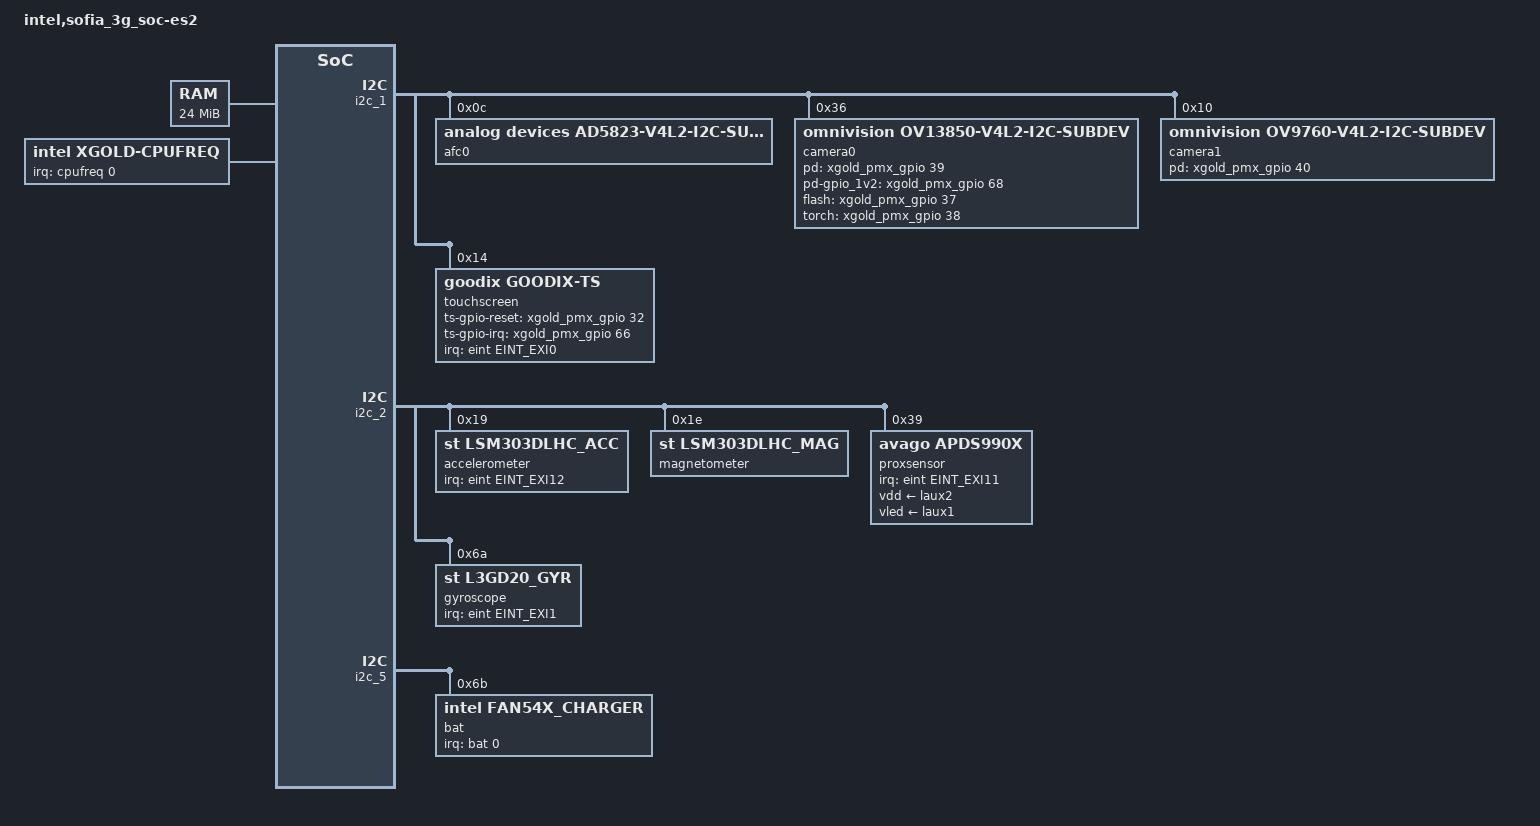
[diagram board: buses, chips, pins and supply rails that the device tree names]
/dts-v1/;
#define SOFIA3G_ES2
#include "xgold/sofia_3g_soc/irq.h"

/ {
	#address-cells = <1>;
	#size-cells = <1>;
	model = "intel,sofia_3g_soc-es2";
	compatible = "intel,sofia_3g_soc-svb", "intel,xgold";

	#include "xgold/sofia_3g_soc/sofia_3g_soc.dtsi"
	#include "xgold/sofia_3g_soc/irq.dtsi"
	#include "xgold/sofia_3g_soc/clock-es2.dtsi"
	#include "xgold/sofia_3g_soc/regulator.dtsi"
	#include "xgold/sofia_3g_soc/device-pm-reg.dtsi"

	chosen {
	};

	aliases {
	};

	memory {
		device_type = "memory";
		reg = <0x800000 0x1800000>;
	};

	cpufreq:cpufreq {
		compatible = "intel,xgold-cpufreq";
		clocks = <&clk_cpu>,<&MUX_CPU>,<&B_0_1>,<&G_0_1>;
		clock-names = "core","mux","pll","bank";
		intel,cpufreq-table = <208000 312000 728000 1040000>;
/*		intel,cpufreq-table = <208000 312000 416000>;*/
		#address-cells = < 0 >;
		interrupts = < 0 >;
		interrupt-parent = <&cpufreq>;
		#interrupt-cells = < 1 >;
		interrupt-map = < 0 &hirq HIRQ_CPU_CLK_CHANGE IRQ_TYPE_DEFAULT>;
		interrupt-names = "CPU_CLK_CHANGE";
	};

	vmodem {
		compatible = "intel,vmodem";
		reg = < 0x3c000000 0x04000000 >;
	};

	ion {
		compatible = "intel,ion";
#ifndef RECOVERY_KERNEL
		secvm-handler;
#endif
		cma-heap {
			intel,heapmem = < 0x00000000 0x08000000 >;
		};
	};

	backlight:backlight {
		compatible = "intel,led-bl";
		reg = <0xE6501800 0x154>;
		intel,flags-use-safe-ctrl;
		pm,class-name = "bl_class";
		pm,user-name = "bl";
		pm,state-D0 = "enable";
		pm,state-D3 = "disable";
	};

#ifndef RECOVERY_KERNEL
	headset:headset {
		compatible = "intel,headset";
		#address-cells = < 0 >;
		reg = <0xE6501C00 0x4>;
		reg-names = "headset-registers";
		interrupts = < 0 1 >;
		interrupt-parent = < &headset>;
		#interrupt-cells = < 1 >;
		interrupt-map = <
			 0 &ag620_pmu ABB_PMU_ACD1 XGOLD_IRQ_TYPE_NONE
			 1 &ag620_pmu ABB_PMU_ACD2 XGOLD_IRQ_TYPE_NONE
			>;
		interrupt-names = "acd1", "acd2";
		io-channel-names = "ACCID_ADC";
		io-channels = < &meas 4 >;
	};
#endif
	lcd:lcd {
		compatible = "intel,lcd";
		pm,class-name = "generic_class";
		pm,user-name = "lcd";
		pm,state-D0 = "enable";
		pm,state-D3 = "disable";
	};

	graphics {
		compatible = "intel,graphics";
		intel,gpu-shared-mem = <0x20000000>;
		intel,dcc-fbpixelformat= "RGB888";
		intel,dcc-debug-level = <1>;
		intel,fb-api = <1>;
#ifdef RECOVERY_KERNEL
		intel,dcc-mem = < 0x00800000 >;
#else
		intel,dcc-use-fences = <1>;
		intel,dcc-mem = < 0x00400000 >;
#endif
		intel,display-fps = <60>;
		intel,display-ramless = <1>;
		intel,display-preinit = <0>;
		intel,display-if = <&mipi_dsi>;
		intel,display-if-rate = <368000000>;
		/include/ "xgold/display/HX8394.dtsi"
		mipi_dsi:mipi-dsi {
				intel,display-if-min = <104000000>;
				intel,display-if-max = <550000000>;
				intel,display-if-nblanes = <4>;
				intel,display-if-phy-pwup = <6>;
				intel,display-if-phy-calib = <3>;
				intel,display-if-phy-to_lp_hs_req = <24>;
				intel,display-if-phy-to_lp_hs_dis = <25>;
				intel,display-if-phy-to_lp_hs_eot = <60>;
				intel,display-if-phy-to_hs_zero = <8>;
				intel,display-if-phy-to_hs_flip = <24>;
				intel,display-if-phy-lp_clk_div = <31>;
				intel,display-if-phy-to_hs_clk_pre = <36>;
				intel,display-if-phy-to_hs_clk_post = <42>;
				intel,display-if-phy-data_delay = <7>;
				intel,display-if-phy-clock_delay = <7>;
				intel,display-if-phy-lp_tx_tfall = <2>;
				intel,display-if-phy-lp_tx_rise = <2>;
				intel,display-if-phy-lp_tx_vref = <31>;
		};
	};

#ifndef RECOVERY_KERNEL
	sound {
		compatible = "intel,xgold-snd-asoc";
		intel,audio-codec = < &afe >;
		intel,pcm-audio = <&pcm_music>;
		intel,pcm-voice = <&pcm_voice>;
		intel,speech = <&speech_probe>;
	};
#endif

};

&idi_per {
	#include "xgold/agold620/agold620.dtsi"
};

&bat_hal {
	#define BAT_TYPE_LC 0
	#define POWER_SUPPLY_TECHNOLOGY_LION 2

	supp_batids =  < 0 BAT_TYPE_LC >;

	supp_batids-map = "standrd";

	prof-standrd = < POWER_SUPPLY_TECHNOLOGY_LION /*battery_type*/
				  1630 /*capacity*/
				  4250 /*voltage_max*/
				  82 /*chrg_term_ma*/
				  3200 /*low_batt_mv*/
				  60 /*disch_tmp_ul*/
				  0xffffffec /*disch_tmp_ll (-20)*/
				  0 /*min_temp*/
				  3 /*min_temp_restart*/
				  42 /*max_temp_restart*/ >;

	prof-standrd-cap_to_vbat_ocv = <
		3227 3386 3478 3542 3591 3628 3650 3660 3665 3668
		3671 3674 3676 3681 3687 3694 3699 3704 3709 3713
		3718 3722 3726 3729 3732 3735 3737 3740 3743 3746
		3748 3751 3753 3755 3756 3758 3760 3762 3764 3766
		3768 3770 3772 3775 3777 3779 3782 3785 3787 3790
		3793 3796 3800 3803 3806 3810 3813 3817 3821 3826
		3830 3835 3841 3847 3853 3860 3867 3874 3881 3888
		3895 3901 3908 3914 3920 3926 3933 3939 3945 3952
		3958 3964 3970 3975 3981 3987 3994 4002 4013 4025
		4036 4045 4053 4060 4067 4075 4083 4093 4102 4112
		4124 >;


	prof-standrd-ntemp_ranges = <1>;

	prof-standrd-temp_range0 = < 45 /*max_temp*/
					     4160 /*full_chrg_vol*/
					     850 /*full_chrg_cur*/
					     98 /*charging_res_cap*/
					     4160 /*maint_chrg_vol_ul*/
					     850 /*maint_chrg_cur*/ >;

	nprofiles = <1>;
};

&fuel_gauge_hal {
	sense_resistor_mohm = <22>;
	gain_error_1_uc_per_mc = <30>;
	gain_error_2_uc_per_mc = <30>;
};

&dcc {
	pinctrl-names = "default", "sleep", "inactive";
	pinctrl-0 = <&dif_default_pins>;
	pinctrl-1 = <&dif_sleep_pins>;
	pinctrl-2 = <&dif_inactive_pins>;
};

&usif1 {
	pinctrl-names = "default", "sleep", "inactive";
	pinctrl-0 = <&usif1_default_pins>;
	pinctrl-1 = <&usif1_sleep_pins>;
	pinctrl-2 = <&usif1_inactive_pins>;
};

&usif2 {
	pinctrl-names = "default", "sleep", "inactive";
	pinctrl-0 = <&usif2_function_B_active_pins>;
	pinctrl-1 = <&usif2_function_B_sleep_pins>;
	pinctrl-2 = <&usif2_function_B_inactive_pins>;
};

&i2c_1 {
	pinctrl-names = "default", "sleep", "inactive";
	pinctrl-0 = <&i2c1_default_pins>;
	pinctrl-1 = <&i2c1_sleep_pins>;
	pinctrl-2 = <&i2c1_inactive_pins>;

#ifndef RECOVERY_KERNEL
	afc0: af-controller@0 {
		compatible = "analog devices,ad5823-v4l2-i2c-subdev";
		reg = < 0x0C >;
	};

	camera0: camera-module@0 {
		compatible = "omnivision,ov13850-v4l2-i2c-subdev";
		reg = < 0x36 >;
		device_type = "v4l2-i2c-subdev";

		pinctrl-names = "default", "sleep", "inactive";
		pinctrl-0 = <&cam1_default_pins>;
		pinctrl-1 = <&cam1_sleep_pins>;
		pinctrl-2 = <&cam1_inactive_pins>;

		intel,pd-gpio = <&xgold_pmx_gpio 39 0>;
		intel,pd-gpio_1v2 = <&xgold_pmx_gpio 68 0>;
		intel,pd-gpio-is_active_low;
		intel,flash-gpio = <&xgold_pmx_gpio 37 0>;
		intel,torch-gpio = <&xgold_pmx_gpio 38 0>;

		pm,class-name = "generic_class";
		pm,user-name = "primcam";
		pm,state-D0 = "enable";
		pm,state-D3 = "disable";

		/* ["front","back"] */
		intel,camera-module-facing = "back";
		/* ["landscape","landscape-flipped","portrait","portrait-flipped"] */
		intel,camera-module-mounting = "landscape";
		intel,camera-module-flash-support = <1>;
		intel,camera-module-flash-exp-time = <5000>;

		intel,af-ctrl = <&afc0>;

		intel,camera-module-csi-config-0 {
			intel,csi-pixels-per-second = <0>;
			intel,csi-vc = <0>;
			intel,csi-lanes = <2>;
			intel,csi-dphy1 = <0x2014183>;
			intel,csi-dphy2 = <0x00>;
			intel,csi-ana-bandgap-bias = <3>;
		};
		intel,camera-module-csi-config-1 {
			intel,csi-pixels-per-second = <100000000>;
			intel,csi-vc = <0>;
			intel,csi-lanes = <4>;
			intel,csi-dphy1 = <0x600E1C1>;
			intel,csi-dphy2 = <0x00>;
			intel,csi-ana-bandgap-bias = <3>;
		};
	};
#endif
#ifndef RECOVERY_KERNEL
	camera1: camera-module@1 {
		compatible = "omnivision,ov9760-v4l2-i2c-subdev";
		reg = < 0x10 >;
		device_type = "v4l2-i2c-subdev";

		pinctrl-names = "default", "sleep", "inactive";
		pinctrl-0 = <&cam2_default_pins>;
		pinctrl-1 = <&cam2_sleep_pins>;
		pinctrl-2 = <&cam2_inactive_pins>;

		intel,pd-gpio = <&xgold_pmx_gpio 40 0>;
		intel,pd-gpio-is_active_low;

		pm,class-name = "generic_class";
		pm,user-name = "seccam";
		pm,state-D0 = "enable";
		pm,state-D3 = "disable";

		intel,camera-module-facing = "front";
		/* ["landscape","landscape-flipped","portrait","portrait-flipped"] */
		intel,camera-module-mounting = "landscape";
		intel,camera-module-flash-support = <1>;
		intel,camera-module-flash-exp-time = <5000>;

		intel,camera-module-csi-config-0 {
			intel,csi-pixels-per-second = <0>;
			intel,csi-vc = <0>;
			intel,csi-lanes = <1>;
			intel,csi-dphy1 = <0x60121A9>;
			intel,csi-dphy2 = <0x00>;
			intel,csi-ana-bandgap-bias = <3>;
		};

	};
#endif
#ifndef RECOVERY_KERNEL
	touchscreen {
		compatible = "goodix,Goodix-TS";
		reg = < 0x14 >;
		interrupt-parent = <&eint>;
		interrupts = < EINT_EXI0 XGOLD_IRQ_TYPE_EDGE_FALLING >;
		pinctrl-names = "default", "sleep", "inactive", "gpio";
		pinctrl-0 = <&touch_default_pins>;
		pinctrl-1 = <&touch_sleep_pins>;
		pinctrl-2 = <&touch_inactive_pins>;
		pinctrl-3 = <&touch_gpio_pins>;
		intel,ts-gpio-reset = <&xgold_pmx_gpio 32 0>;
		intel,ts-gpio-irq = <&xgold_pmx_gpio 66 0>;
		pm,class-name = "gt9xx_class";
		pm,user-name = "tp";
		pm,state-D0 = "enable";
		pm,state-D3 = "disable";
	};
#endif
};

&i2c_2 {
	pinctrl-names = "default", "sleep", "inactive";
	pinctrl-0 = <&i2c2_default_pins>;
	pinctrl-1 = <&i2c2_sleep_pins>;
	pinctrl-2 = <&i2c2_inactive_pins>;

#ifndef RECOVERY_KERNEL
	accelerometer {
		compatible = "st,lsm303dlhc_acc";
		reg = < 0x19 >;
		interrupt-parent = <&eint>;
		interrupts = < EINT_EXI12 XGOLD_IRQ_TYPE_LEVEL_HIGH >;
		intel,axis-map = < 0 1 2 >;
		intel,negate = < 0 0 0 >;
		intel,poll-interval = < 100 >;
		pinctrl-names = "default", "sleep", "inactive";
		pinctrl-0 = <&accel_default_pins>;
		pinctrl-1 = <&accel_sleep_pins>;
		pinctrl-2 = <&accel_inactive_pins>;
		pm,class-name = "lsm303dlhc_acc_class";
		pm,user-name = "accelerometer";
		pm,state-D0 = "enable";
		pm,state-D3 = "disable";
	};
#endif
#ifndef RECOVERY_KERNEL
	magnetometer {
		compatible = "st,lsm303dlhc_mag";
		reg = < 0x1e >;
		intel,axis-map = < 0 1 2 >;
		intel,negate = < 0 0 0 >;
		intel,offset = < 0 0 0 >;
		intel,poll-interval = < 100 >;
		pm,class-name = "lsm303dlhc_mag_class";
		pm,user-name = "compass";
		pm,state-D0 = "enable";
		pm,state-D3 = "disable";
	};
#endif
#ifndef RECOVERY_KERNEL
	proxsensor {
		compatible = "avago,apds990x";
		reg = < 0x39 >;
		interrupt-parent = <&eint>;
		interrupts = < EINT_EXI11 XGOLD_IRQ_TYPE_EDGE_FALLING >;
		pinctrl-names = "default", "sleep", "inactive";
		pinctrl-0 = <&prox_default_pins>;
		pinctrl-1 = <&prox_sleep_pins>;
		pinctrl-2 = <&prox_inactive_pins>;
		intel,pdrive = /bits/ 8 < 64 >;
		intel,ppcount = /bits/ 8 < 64 >;
		intel,als-gain = < 713 >;
		intel,coeff-B = < 204 >;
		intel,coeff-C = < 98 >;
		intel,coeff-D = < 197 >;
		vdd-supply = <&laux2>;
		vled-supply = <&laux1>; /* VBAT in fact, but since VBAT is not controllable, and VAUX1 is required for INT pull up, assigned VAUX1 to VLED instead. */
		pm,class-name = "apds990x_class";
		pm,user-name = "proximity";
		pm,state-D0 = "enable";
		pm,state-D3 = "disable";
	};
#endif
#ifndef RECOVERY_KERNEL
	gyroscope {
		compatible = "st,l3gd20_gyr";
		reg = < 0x6a >;
		interrupt-parent = <&eint>;
		interrupts = < EINT_EXI1 XGOLD_IRQ_TYPE_EDGE_RISING >;
		pinctrl-names = "default", "sleep", "inactive";
		pinctrl-0 = <&gyroscope_default_pins>;
		pinctrl-1 = <&gyroscope_sleep_pins>;
		pinctrl-2 = <&gyroscope_inactive_pins>;
		intel,axis-map = < 1 0 2 >; /* spec is wrong, x and y are interchanged */
		intel,negate = < 1 0 0 >;
		intel,poll-interval = < 100 >;
		intel,full-scale = < 2000 >;
		pm,class-name = "l3gd20_class";
		pm,user-name = "gyroscope";
		pm,state-D0 = "enable";
		pm,state-D3 = "disable";
	};
#endif
};

&i2c_5 {
	pinctrl-names = "default", "sleep", "inactive";
	pinctrl-0 = <&i2c5_agold_default_pins>;
	pinctrl-1 = <&i2c5_agold_sleep_pins>;
	pinctrl-2 = <&i2c5_agold_inactive_pins>;
	bat:battery {
		compatible = "intel,fan54x_charger";
		reg = < 0x6b >;
		interrupts = < 0 >;
		interrupt-parent = < &bat>;
		#interrupt-cells = < 1 >;
		interrupt-map = < 0 &ag620_pmu ABB_PMU_CI XGOLD_IRQ_TYPE_NONE >; /* CI */
		pinctrl-names = "default", "sleep", "inactive", "active";
		pinctrl-0 = < &chgreset_agold_default_pins >;
		pinctrl-1 = < &chgreset_agold_sleep_pins >;
		pinctrl-2 = < &chgreset_agold_inactive_pins >;
		pinctrl-3 = < &chgreset_agold_active_pins >;
	};
};

&gnss {
	pinctrl-names = "default", "sleep", "inactive", "default_lna", "inactive_lna", "default_fta", "inactive_fta", "gnss_default", "gnss_inactive";
	pinctrl-0 = <&tcxo_agold_default_pins>;
	pinctrl-1 = <&tcxo_agold_sleep_pins>;
	pinctrl-2 = <&tcxo_agold_inactive_pins>;
	pinctrl-3 = <&ext_agold_default_pins>;
	pinctrl-4 = <&ext_agold_sleep_pins>;
	pinctrl-5 = <&gnss_agold_default_pins>;
	pinctrl-6 = <&gnss_agold_sleep_pins>;
	pinctrl-7 = <&gnss_default_pins>;
	pinctrl-8 = <&gnss_inactive_pins>;
};

&backlight {
	pinctrl-names = "default", "sleep", "inactive";
	pinctrl-0 = <&cabc_agold_default_pins>;
	pinctrl-1 = <&cabc_agold_sleep_pins>;
	pinctrl-2 = <&cabc_agold_inactive_pins>;
};

#ifndef RECOVERY_KERNEL
&afe {
	pinctrl-names = "default", "sleep", "inactive";
	pinctrl-0 = <&dm_agold_default_pins>;
	pinctrl-1 = <&dm_agold_sleep_pins>;
	pinctrl-2 = <&dm_agold_inactive_pins>;
};
#endif

&sd {
	intel,tap_values = <0x080400F5 0x08040004 0x00040004 0x08040004 0x5CF501A5 0x00F500A5 0x00F500A5>;
	pinctrl-names = "default", "sleep", "inactive";
	pinctrl-0 = <&sdmmc_default_pins>;
	pinctrl-1 = <&sdmmc_sleep_pins>;
	pinctrl-2 = <&sdmmc_inactive_pins>;
};

&emmc {
	intel,tap_values = <0x080400F5 0x08040004 0x00040004 0x08040004 0x08040004 0x000400B5 0x000400B5>;
	pinctrl-names = "default", "sleep", "inactive";
	pinctrl-0 = <&emmc_default_pins>;
	pinctrl-1 = <&emmc_sleep_pins>;
	pinctrl-2 = <&emmc_inactive_pins>;

};

&keypad {
	pinctrl-names = "default", "sleep", "inactive";
	pinctrl-0 = <&kp_default_pins>;
	pinctrl-1 = <&kp_sleep_pins>;
	pinctrl-2 = <&kp_inactive_pins>;
	keypad,num-rows = <3>;
	keypad,num-columns = <8>;
	keypad,rows = <0 2>;
	keypad,columns = <0 1 2>;
	linux,keymap = <0x00000073	/* KEY_VOLUMEUP */
			0x00010066	/* KEY_HOME */
			0x00020000	/* KEY_RESERVED */
			0x00030000	/* KEY_RESERVED */
			0x00040000	/* KEY_RESERVED */
			0x00050000	/* KEY_RESERVED */
			0x00060000	/* KEY_RESERVED */
			0x00070000	/* KEY_RESERVED */
			0x01000000	/* KEY_RESERVED */
			0x01010000	/* KEY_RESERVED */
			0x01020000	/* KEY_RESERVED */
			0x01030000	/* KEY_RESERVED */
			0x01040000	/* KEY_RESERVED */
			0x01050000	/* KEY_RESERVED */
			0x01060000	/* KEY_RESERVED */
			0x01070000	/* KEY_RESERVED */
			0x02000072	/* KEY_VOLUMEDOWN */
			0x02010000	/* KEY_RESERVED */
			0x02020000>;	/* KEY_RESERVED */
};

#ifndef RECOVERY_KERNEL
&cif {
	intel,camera-modules-attached = <&camera0 &camera1>;
};
#endif

#include "xgold/agold620/pinctrl-sf_3g-es2-svb.dtsi"
#include "xgold/sofia_3g_soc/pinctrl-sf_3g-es2-svb.dtsi"
